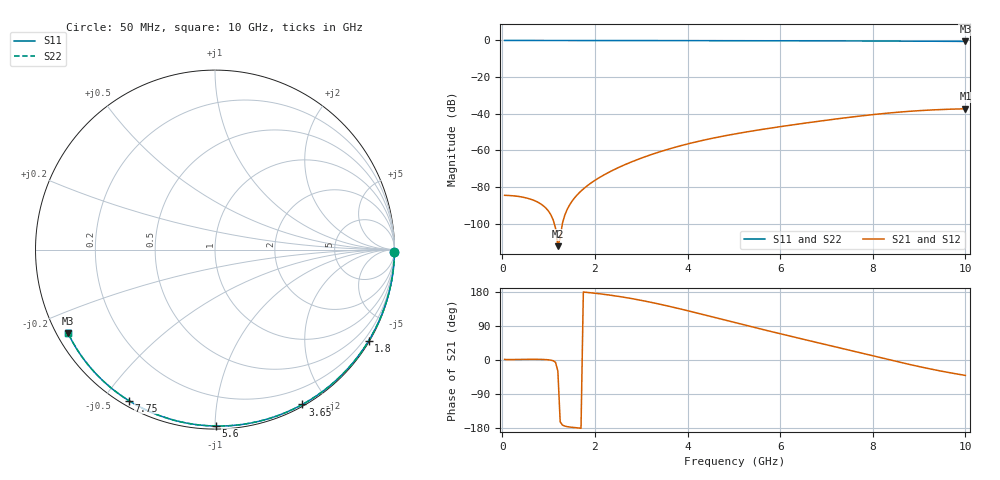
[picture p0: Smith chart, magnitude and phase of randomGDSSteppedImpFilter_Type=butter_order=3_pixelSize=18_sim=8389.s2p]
! freq	dB(S11)	phase(S11)	dB(S12)	phase(S12)
!  dB(S21)	phase(S21)	dB(S22)	phase(S22)
!S-par simulation data
#  GHz  S  DB  R 50
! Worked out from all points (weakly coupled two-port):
!   200 points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, 50 MHz to 10 GHz, reference 50 ohm
!   highest |S21| = -37.31 dB at 10 GHz (marker M1); lowest = -112.3 dB at 1.2 GHz (marker M2)
!   lowest |S11| = -0.5 dB at 10 GHz (marker M3), VSWR 33.41, Z = 1.6 - j13.2 ohm
!   |S11| at or under -10 dB: nowhere
!   |S22| runs from -0.5 to 0.0 dB; largest |S21 - S12| = 0
!   S11 on the Smith chart (normalised r, x): 50 MHz: open; 1.8 GHz: 0.03, -3.65; 3.65 GHz: 0.02, -1.71; 5.6 GHz: 0.02, -1.00; 7.75 GHz: 0.02, -0.58; 10 GHz: 0.03, -0.26
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0.05  -0.00 -0.9  -84.57 1.7  -84.57 1.7  -0.00 -0.9
0.6  -0.01 -10.3  -86.57 1.9  -86.57 1.9  -0.01 -10.3
1.2  -0.02 -20.6  -112.33 -29.2  -112.33 -29.2  -0.02 -20.6
1.75  -0.04 -29.8  -81.09 179.4  -81.09 179.4  -0.04 -29.8
1.8  -0.04 -30.6  -80.03 178.8  -80.03 178.8  -0.04 -30.6
2.05  -0.04 -34.8  -75.57 175.5  -75.57 175.5  -0.04 -34.8
2.25  -0.05 -38.1  -72.66 172.5  -72.66 172.5  -0.05 -38.1
2.45  -0.05 -41.4  -70.10 169.0  -70.10 169.0  -0.05 -41.4
2.65  -0.06 -44.6  -67.80 165.1  -67.80 165.1  -0.06 -44.6
2.9  -0.06 -48.7  -65.22 159.7  -65.22 159.7  -0.06 -48.6
3.4  -0.08 -56.6  -60.80 147.3  -60.80 147.3  -0.08 -56.6
3.65  -0.08 -60.5  -58.90 140.4  -58.90 140.4  -0.08 -60.5
4.3  -0.10 -70.5  -54.70 121.1  -54.70 121.1  -0.10 -70.5
5.05  -0.13 -81.8  -50.92 97.9  -50.92 97.9  -0.13 -81.8
5.6  -0.15 -89.8  -48.61 81.2  -48.61 81.2  -0.15 -89.8
6.15  -0.17 -97.6  -46.52 64.9  -46.52 64.9  -0.17 -97.6
6.7  -0.21 -105.3  -44.57 48.9  -44.57 48.9  -0.21 -105.3
7.2  -0.24 -112.2  -42.89 34.3  -42.89 34.3  -0.24 -112.2
7.75  -0.28 -119.8  -41.20 18.2  -41.20 18.2  -0.28 -119.8
8.35  -0.33 -127.9  -39.61 0.8  -39.61 0.8  -0.33 -127.9
9.15  -0.41 -138.7  -38.11 -21.3  -38.11 -21.3  -0.41 -138.7
10  -0.52 -150.3  -37.31 -40.7  -37.31 -40.7  -0.52 -150.3
